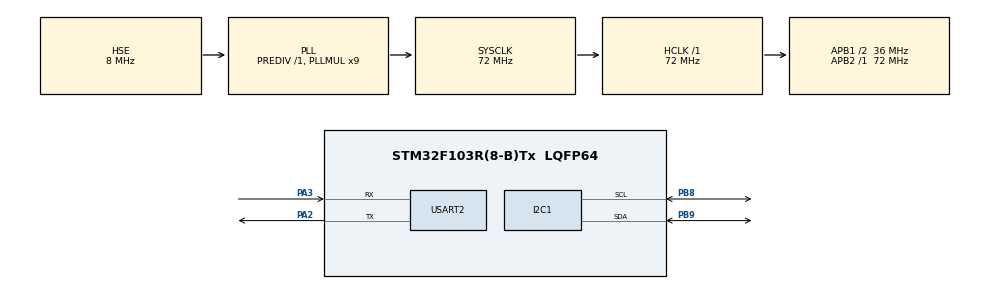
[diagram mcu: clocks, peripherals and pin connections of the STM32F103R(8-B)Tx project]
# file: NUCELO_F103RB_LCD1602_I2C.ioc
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Mcu.Family=STM32F1
Mcu.Name=STM32F103R(8-B)Tx
Mcu.Package=LQFP64
NVIC.PriorityGroup=NVIC_PRIORITYGROUP_4
PA13.Mode=Serial_Wire
PA13.Signal=SYS_JTMS-SWDIO
PA14.Mode=Serial_Wire
PA14.Signal=SYS_JTCK-SWCLK
PA2.Mode=Asynchronous
PA2.Signal=USART2_TX
PA3.Mode=Asynchronous
PA3.Signal=USART2_RX
PB8.Mode=I2C
PB8.Signal=I2C1_SCL
PB9.Mode=I2C
PB9.Signal=I2C1_SDA
PC14-OSC32_IN.Mode=LSE-External-Oscillator
PC14-OSC32_IN.Signal=RCC_OSC32_IN
PC15-OSC32_OUT.Mode=LSE-External-Oscillator
PC15-OSC32_OUT.Signal=RCC_OSC32_OUT
PD0-OSC_IN.Mode=HSE-External-Oscillator
PD0-OSC_IN.Signal=RCC_OSC_IN
PD1-OSC_OUT.Mode=HSE-External-Oscillator
PD1-OSC_OUT.Signal=RCC_OSC_OUT
ProjectManager.HeapSize=0x200
ProjectManager.StackSize=0x400
ProjectManager.TargetToolchain=MDK-ARM V5.32
RCC.AHBFreq_Value=72000000
RCC.APB1CLKDivider=RCC_HCLK_DIV2
RCC.APB1Freq_Value=36000000
RCC.APB1TimFreq_Value=72000000
RCC.APB2Freq_Value=72000000
RCC.APB2TimFreq_Value=72000000
RCC.HCLKFreq_Value=72000000
RCC.PLLMUL=RCC_PLL_MUL9
RCC.PLLSourceVirtual=RCC_PLLSOURCE_HSE
RCC.SYSCLKFreq_VALUE=72000000
RCC.SYSCLKSource=RCC_SYSCLKSOURCE_PLLCLK
RCC.USBFreq_Value=72000000
USART2.VirtualMode=VM_ASYNC
board=custom

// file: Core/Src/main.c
/* USER CODE BEGIN Header */
/**
  ******************************************************************************
  * @file           : main.c
  * @brief          : Main program body
  ******************************************************************************
  * @attention
  *
  * Copyright (c) 2024 STMicroelectronics.
  * All rights reserved.
  *
  * This software is licensed under terms that can be found in the LICENSE file
  * in the root directory of this software component.
  * If no LICENSE file comes with this software, it is provided AS-IS.
  *
  ******************************************************************************
  */
/* USER CODE END Header */
#include "main.h"
#include "i2c.h"
#include "usart.h"
#include "gpio.h"

/* USER CODE BEGIN Includes */

// ref: https://daiskadark.blogspot.com/2013/07/c-printf-scanf-uart.html
// option -> target -> check Use MicroLIB allow USART to output // https://kknews.cc/zh-tw/tech/oyvn68p.html
#include <stdio.h>
#include <string.h>
/* USER CODE END Includes */

/* USER CODE BEGIN PD */
#ifdef _GNUC_
#define PUTCHAR_PROTOTYPE int __io_putchar(int ch)
#else
#define PUTCHAR_PROTOTYPE int fputc(int ch, FILE *f)
#endif
/* USER CODE END PD */

void SystemClock_Config(void);
/* USER CODE BEGIN PFP */
void LCD_Send_String (char *);
void LCD_Init();
void LCD_Clear();
void LCD_Send_Data(char);
void LCD_Send_Cmd(char);
void LCD_Put_Cur(uint8_t, uint8_t);
/* USER CODE END PFP */

/* USER CODE BEGIN 0 */
PUTCHAR_PROTOTYPE
{
HAL_UART_Transmit(&huart2, (uint8_t *)&ch, 1, HAL_MAX_DELAY);
return ch;
}
/* USER CODE END 0 */

int main(void)
{

  /* MCU Configuration--------------------------------------------------------*/

  /* Reset of all peripherals, Initializes the Flash interface and the Systick. */
  HAL_Init();

  /* Configure the system clock */
  SystemClock_Config();

  /* Initialize all configured peripherals */
  MX_GPIO_Init();
  MX_I2C1_Init();
  MX_USART2_UART_Init();
  /* USER CODE BEGIN 2 */
	printf("LCD1602 I2C \r\n");
	HAL_Delay(30);
	LCD_Init();
  /* USER CODE END 2 */

  /* Infinite loop */
  while (1)
  {

    /* USER CODE BEGIN 3 */
		LCD_Put_Cur(0,2);
	  LCD_Send_String("Hello World!");
	  LCD_Put_Cur(1,1);
	  LCD_Send_String("--Dylan Kuan--");
	  HAL_Delay(5000);
	  LCD_Clear();
	  HAL_Delay(5000);
  }
  /* USER CODE END 3 */
}

void SystemClock_Config(void)
{
  RCC_OscInitTypeDef RCC_OscInitStruct = {0};
  RCC_ClkInitTypeDef RCC_ClkInitStruct = {0};

  /** Initializes the RCC Oscillators according to the specified parameters
  * in the RCC_OscInitTypeDef structure.
  */
  RCC_OscInitStruct.OscillatorType = RCC_OSCILLATORTYPE_HSE;
  RCC_OscInitStruct.HSEState = RCC_HSE_ON;
  RCC_OscInitStruct.HSEPredivValue = RCC_HSE_PREDIV_DIV1;
  RCC_OscInitStruct.HSIState = RCC_HSI_ON;
  RCC_OscInitStruct.PLL.PLLState = RCC_PLL_ON;
  RCC_OscInitStruct.PLL.PLLSource = RCC_PLLSOURCE_HSE;
  RCC_OscInitStruct.PLL.PLLMUL = RCC_PLL_MUL9;
  if (HAL_RCC_OscConfig(&RCC_OscInitStruct) != HAL_OK)
  {
    Error_Handler();
  }

  /** Initializes the CPU, AHB and APB buses clocks
  */
  RCC_ClkInitStruct.ClockType = RCC_CLOCKTYPE_HCLK|RCC_CLOCKTYPE_SYSCLK
                              |RCC_CLOCKTYPE_PCLK1|RCC_CLOCKTYPE_PCLK2;
  RCC_ClkInitStruct.SYSCLKSource = RCC_SYSCLKSOURCE_PLLCLK;
  RCC_ClkInitStruct.AHBCLKDivider = RCC_SYSCLK_DIV1;
  RCC_ClkInitStruct.APB1CLKDivider = RCC_HCLK_DIV2;
  RCC_ClkInitStruct.APB2CLKDivider = RCC_HCLK_DIV1;

  if (HAL_RCC_ClockConfig(&RCC_ClkInitStruct, FLASH_LATENCY_2) != HAL_OK)
  {
    Error_Handler();
  }
}

void Error_Handler(void)
{
  __disable_irq();
  while (1)
  {
  }
}
